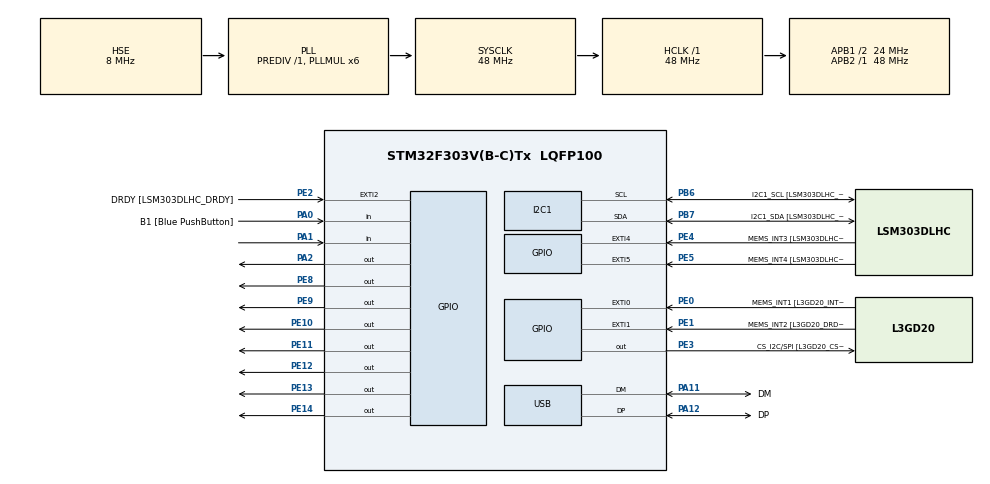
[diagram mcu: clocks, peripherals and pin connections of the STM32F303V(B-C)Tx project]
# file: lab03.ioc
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I2C1.Timing=0x2000090E
I2C1.Timing-I2C=0x2000090E
Mcu.Family=STM32F3
Mcu.Name=STM32F303V(B-C)Tx
Mcu.Package=LQFP100
NVIC.PriorityGroup=NVIC_PRIORITYGROUP_0
PA0.GPIO_Label=B1 [Blue PushButton]
PA0.Signal=GPIO_Input
PA1.GPIO_PuPd=GPIO_PULLDOWN
PA1.Signal=GPIO_Input
PA11.GPIO_Label=DM
PA11.Mode=Device
PA11.Signal=USB_DM
PA12.GPIO_Label=DP
PA12.Mode=Device
PA12.Signal=USB_DP
PA13.GPIO_Label=SWDIO
PA13.Mode=Serial_Wire
PA13.Signal=SYS_JTMS-SWDIO
PA14.GPIO_Label=SWCLK
PA14.Mode=Serial_Wire
PA14.Signal=SYS_JTCK-SWCLK
PA2.Signal=GPIO_Output
PB3.GPIO_Label=SWO
PB3.Signal=SYS_JTDO-TRACESWO
PB6.GPIO_Label=I2C1_SCL [LSM303DLHC_SCL]
PB6.GPIO_Pu=GPIO_PULLUP
PB6.Mode=I2C
PB6.Signal=I2C1_SCL
PB7.GPIO_Label=I2C1_SDA [LSM303DLHC_SDA]
PB7.GPIO_Pu=GPIO_PULLUP
PB7.Mode=I2C
PB7.Signal=I2C1_SDA
PC14-OSC32_IN.GPIO_Label=OSC32_IN
PC14-OSC32_IN.Signal=RCC_OSC32_IN
PC15-OSC32_OUT.GPIO_Label=OSC32_OUT
PC15-OSC32_OUT.Signal=RCC_OSC32_OUT
PE0.GPIO_Label=MEMS_INT1 [L3GD20_INT1]
PE0.GPIO_ModeDefaultEXTI=GPIO_MODE_EVT_RISING
PE0.Signal=GPXTI0
PE1.GPIO_Label=MEMS_INT2 [L3GD20_DRDY/INT2]
PE1.GPIO_ModeDefaultEXTI=GPIO_MODE_EVT_RISING
PE1.Signal=GPXTI1
PE10.Signal=GPIO_Output
PE11.Signal=GPIO_Output
PE12.Signal=GPIO_Output
PE13.Signal=GPIO_Output
PE14.Signal=GPIO_Output
PE2.GPIO_Label=DRDY [LSM303DLHC_DRDY]
PE2.GPIO_ModeDefaultEXTI=GPIO_MODE_EVT_RISING
PE2.Signal=GPXTI2
PE3.GPIO_Label=CS_I2C/SPI [L3GD20_CS_I2C/SPI]
PE3.Signal=GPIO_Output
PE4.GPIO_Label=MEMS_INT3 [LSM303DLHC_INT1]
PE4.GPIO_ModeDefaultEXTI=GPIO_MODE_EVT_RISING
PE4.Signal=GPXTI4
PE5.GPIO_Label=MEMS_INT4 [LSM303DLHC_INT2]
PE5.GPIO_ModeDefaultEXTI=GPIO_MODE_EVT_RISING
PE5.Signal=GPXTI5
PE8.Signal=GPIO_Output
PE9.Signal=GPIO_Output
PF0-OSC_IN.GPIO_Label=OSC_IN
PF0-OSC_IN.Mode=HSE-External-Clock-Source
PF0-OSC_IN.Signal=RCC_OSC_IN
PF1-OSC_OUT.GPIO_Label=OSC_OUT
PF1-OSC_OUT.Signal=RCC_OSC_OUT
ProjectManager.HeapSize=0x200
ProjectManager.StackSize=0x400
ProjectManager.TargetToolchain=CMake
RCC.AHBFreq_Value=48000000
RCC.APB1CLKDivider=RCC_HCLK_DIV2
RCC.APB1Freq_Value=24000000
RCC.APB1TimFreq_Value=48000000
RCC.APB2Freq_Value=48000000
RCC.APB2TimFreq_Value=48000000
RCC.CortexFreq_Value=48000000
RCC.HCLKFreq_Value=48000000
RCC.HSE_VALUE=8000000
RCC.HSI_VALUE=8000000
RCC.LSE_VALUE=32768
RCC.PLLMUL=RCC_PLL_MUL6
RCC.SYSCLKFreq_VALUE=48000000
RCC.SYSCLKSourceVirtual=RCC_SYSCLKSOURCE_PLLCLK
RCC.USBFreq_Value=48000000
board=STM32F3DISCOVERY

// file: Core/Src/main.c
/* USER CODE BEGIN Header */
/**
  ******************************************************************************
  * @file           : main.c
  * @brief          : Main program body
  ******************************************************************************
  * @attention
  *
  * Copyright (c) 2026 STMicroelectronics.
  * All rights reserved.
  *
  * This software is licensed under terms that can be found in the LICENSE file
  * in the root directory of this software component.
  * If no LICENSE file comes with this software, it is provided AS-IS.
  *
  ******************************************************************************
  */
/* USER CODE END Header */
#include "main.h"
#include "stm32f3xx_hal.h"
#include "stdlib.h"

I2C_HandleTypeDef hi2c1;

PCD_HandleTypeDef hpcd_USB_FS;

void SystemClock_Config(void);
static void MX_GPIO_Init(void);
static void MX_I2C1_Init(void);
static void MX_USB_PCD_Init(void);

/* USER CODE BEGIN 0 */
#define SEG_A GPIO_PIN_8
#define SEG_B GPIO_PIN_9
#define SEG_C GPIO_PIN_10
#define SEG_D GPIO_PIN_11
#define SEG_E GPIO_PIN_12
#define SEG_F GPIO_PIN_13
#define SEG_G GPIO_PIN_14

void display_digit(int digit)
{
    uint16_t segments = 0;

    switch (digit)
    {
        case 0: segments = SEG_A | SEG_B | SEG_C | SEG_D | SEG_E | SEG_F; break;
        case 1: segments = SEG_B | SEG_C; break;
        case 2: segments = SEG_A | SEG_B | SEG_D | SEG_E | SEG_G; break;
        case 3: segments = SEG_A | SEG_B | SEG_C | SEG_D | SEG_G; break;
        case 4: segments = SEG_B | SEG_C | SEG_F | SEG_G; break;
        case 5: segments = SEG_A | SEG_C | SEG_D | SEG_F | SEG_G; break;
        case 6: segments = SEG_A | SEG_C | SEG_D | SEG_E | SEG_F | SEG_G; break;
        case 7: segments = SEG_A | SEG_B | SEG_C; break;
        case 8: segments = SEG_A | SEG_B | SEG_C | SEG_D | SEG_E | SEG_F | SEG_G; break;
        case 9: segments = SEG_A | SEG_B | SEG_C | SEG_D | SEG_F | SEG_G; break;
        case 10: segments = SEG_A | SEG_B | SEG_C | SEG_E | SEG_F | SEG_G; break; // A
        case 11: segments = SEG_C | SEG_D | SEG_E | SEG_F | SEG_G; break;           // B
        case 12: segments = SEG_A | SEG_D | SEG_E | SEG_F; break;                   // C
        case 13: segments = SEG_B | SEG_C | SEG_D | SEG_E | SEG_G; break;           // D
        case 14: segments = SEG_A | SEG_D | SEG_E | SEG_F | SEG_G; break;           // E
        case 15: segments = SEG_A | SEG_E | SEG_F | SEG_G; break;                   // F
        default: segments = 0; break; // Turn off all segments for invalid input
    }

    // First, turn off all segments
    HAL_GPIO_WritePin(GPIOE, SEG_A | SEG_B | SEG_C | SEG_D | SEG_E | SEG_F | SEG_G, GPIO_PIN_SET);

    // Then, turn on the required segments
    HAL_GPIO_WritePin(GPIOE, segments, GPIO_PIN_RESET);
}

void Task_1(void)
{
  for (int i = 0; i <= 15; i++)
    {
      display_digit(i);
      HAL_Delay(2000);
    }
}

void Task_2(int *index)
{
    int arr[5] = {1, 0, 3, 5, 7};

    static uint8_t last_button_state = 0;

    uint8_t current_button_state = HAL_GPIO_ReadPin(GPIOA, GPIO_PIN_0);

    if (current_button_state && !last_button_state)
    {
        *index = (*index + 1) % 5;  // Increment index safely
    }

    last_button_state = current_button_state;

    display_digit(arr[*index]);
}

void Task_3(int counter)
{
    uint8_t up_pressed = (HAL_GPIO_ReadPin(GPIOA, GPIO_PIN_0) == GPIO_PIN_SET);
    uint8_t down_pressed = (HAL_GPIO_ReadPin(GPIOB, GPIO_PIN_5) == GPIO_PIN_SET);

    if (up_pressed || down_pressed)
    {
      if (up_pressed)
        {
          counter = (counter == 15) ? 0 : counter + 1;
        }

      if (down_pressed)
        {
          counter = (counter == 0) ? 15 : counter - 1;
        }

    display_digit(counter);

    HAL_Delay(200); // debounce delay

    // Wait until both buttons are released
    while (HAL_GPIO_ReadPin(GPIOA, GPIO_PIN_0) == GPIO_PIN_SET ||
    HAL_GPIO_ReadPin(GPIOB, GPIO_PIN_5) == GPIO_PIN_SET);
    }
}

void Task_4(void){
  if (HAL_GPIO_ReadPin(GPIOA, GPIO_PIN_0) == GPIO_PIN_SET)
    {
      int dice_value = (rand() % 6) + 1; // generate a random number between 1 and 6
      display_digit(dice_value);

      HAL_Delay(200); // debounce delay

      // wait until the button is released
      while (HAL_GPIO_ReadPin(GPIOA, GPIO_PIN_0) == GPIO_PIN_SET);
    }
}

/* USER CODE END 0 */

int main(void)
{

  /* MCU Configuration--------------------------------------------------------*/

  /* Reset of all peripherals, Initializes the Flash interface and the Systick. */

  HAL_Init();

  /* Configure the system clock */
  SystemClock_Config();

  /* Initialize all configured peripherals */
  MX_GPIO_Init();
  MX_I2C1_Init();
  MX_USB_PCD_Init();
  /* USER CODE BEGIN 2 */
  // int counter =5;          For Task 3

  /* USER CODE END 2 */

  /* Infinite loop */
  while (1)
  {
      // Task_1();
      // Task_2(&index);
      // Task_3(counter);
      Task_4();
  }
}

void SystemClock_Config(void)
{
  RCC_OscInitTypeDef RCC_OscInitStruct = {0};
  RCC_ClkInitTypeDef RCC_ClkInitStruct = {0};
  RCC_PeriphCLKInitTypeDef PeriphClkInit = {0};

  /** Initializes the RCC Oscillators according to the specified parameters
  * in the RCC_OscInitTypeDef structure.
  */
  RCC_OscInitStruct.OscillatorType = RCC_OSCILLATORTYPE_HSI|RCC_OSCILLATORTYPE_HSE;
  RCC_OscInitStruct.HSEState = RCC_HSE_BYPASS;
  RCC_OscInitStruct.HSEPredivValue = RCC_HSE_PREDIV_DIV1;
  RCC_OscInitStruct.HSIState = RCC_HSI_ON;
  RCC_OscInitStruct.HSICalibrationValue = RCC_HSICALIBRATION_DEFAULT;
  RCC_OscInitStruct.PLL.PLLState = RCC_PLL_ON;
  RCC_OscInitStruct.PLL.PLLSource = RCC_PLLSOURCE_HSE;
  RCC_OscInitStruct.PLL.PLLMUL = RCC_PLL_MUL6;
  if (HAL_RCC_OscConfig(&RCC_OscInitStruct) != HAL_OK)
  {
    Error_Handler();
  }

  /** Initializes the CPU, AHB and APB buses clocks
  */
  RCC_ClkInitStruct.ClockType = RCC_CLOCKTYPE_HCLK|RCC_CLOCKTYPE_SYSCLK
                              |RCC_CLOCKTYPE_PCLK1|RCC_CLOCKTYPE_PCLK2;
  RCC_ClkInitStruct.SYSCLKSource = RCC_SYSCLKSOURCE_PLLCLK;
  RCC_ClkInitStruct.AHBCLKDivider = RCC_SYSCLK_DIV1;
  RCC_ClkInitStruct.APB1CLKDivider = RCC_HCLK_DIV2;
  RCC_ClkInitStruct.APB2CLKDivider = RCC_HCLK_DIV1;

  if (HAL_RCC_ClockConfig(&RCC_ClkInitStruct, FLASH_LATENCY_1) != HAL_OK)
  {
    Error_Handler();
  }
  PeriphClkInit.PeriphClockSelection = RCC_PERIPHCLK_USB|RCC_PERIPHCLK_I2C1;
  PeriphClkInit.I2c1ClockSelection = RCC_I2C1CLKSOURCE_HSI;
  PeriphClkInit.USBClockSelection = RCC_USBCLKSOURCE_PLL;
  if (HAL_RCCEx_PeriphCLKConfig(&PeriphClkInit) != HAL_OK)
  {
    Error_Handler();
  }
}

static void MX_I2C1_Init(void)
{

  hi2c1.Instance = I2C1;
  hi2c1.Init.Timing = 0x2000090E;
  hi2c1.Init.OwnAddress1 = 0;
  hi2c1.Init.AddressingMode = I2C_ADDRESSINGMODE_7BIT;
  hi2c1.Init.DualAddressMode = I2C_DUALADDRESS_DISABLE;
  hi2c1.Init.OwnAddress2 = 0;
  hi2c1.Init.OwnAddress2Masks = I2C_OA2_NOMASK;
  hi2c1.Init.GeneralCallMode = I2C_GENERALCALL_DISABLE;
  hi2c1.Init.NoStretchMode = I2C_NOSTRETCH_DISABLE;
  if (HAL_I2C_Init(&hi2c1) != HAL_OK)
  {
    Error_Handler();
  }

  /** Configure Analogue filter
  */
  if (HAL_I2CEx_ConfigAnalogFilter(&hi2c1, I2C_ANALOGFILTER_ENABLE) != HAL_OK)
  {
    Error_Handler();
  }

  /** Configure Digital filter
  */
  if (HAL_I2CEx_ConfigDigitalFilter(&hi2c1, 0) != HAL_OK)
  {
    Error_Handler();
  }

}

static void MX_USB_PCD_Init(void)
{

  hpcd_USB_FS.Instance = USB;
  hpcd_USB_FS.Init.dev_endpoints = 8;
  hpcd_USB_FS.Init.speed = PCD_SPEED_FULL;
  hpcd_USB_FS.Init.phy_itface = PCD_PHY_EMBEDDED;
  hpcd_USB_FS.Init.low_power_enable = DISABLE;
  hpcd_USB_FS.Init.battery_charging_enable = DISABLE;
  if (HAL_PCD_Init(&hpcd_USB_FS) != HAL_OK)
  {
    Error_Handler();
  }

}

static void MX_GPIO_Init(void)
{
  GPIO_InitTypeDef GPIO_InitStruct = {0};

  /* GPIO Ports Clock Enable */
  __HAL_RCC_GPIOE_CLK_ENABLE();
  __HAL_RCC_GPIOC_CLK_ENABLE();
  __HAL_RCC_GPIOF_CLK_ENABLE();
  __HAL_RCC_GPIOA_CLK_ENABLE();
  __HAL_RCC_GPIOB_CLK_ENABLE();

  /*Configure GPIO pin Output Level */
  HAL_GPIO_WritePin(GPIOE, CS_I2C_SPI_Pin|GPIO_PIN_8|GPIO_PIN_9|GPIO_PIN_10
                          |GPIO_PIN_11|GPIO_PIN_12|GPIO_PIN_13|GPIO_PIN_14, GPIO_PIN_RESET);

  /*Configure GPIO pin Output Level */
  HAL_GPIO_WritePin(GPIOA, GPIO_PIN_2, GPIO_PIN_RESET);

  /*Configure GPIO pins : DRDY_Pin MEMS_INT3_Pin MEMS_INT4_Pin MEMS_INT1_Pin
                           MEMS_INT2_Pin */
  GPIO_InitStruct.Pin = DRDY_Pin|MEMS_INT3_Pin|MEMS_INT4_Pin|MEMS_INT1_Pin
                          |MEMS_INT2_Pin;
  GPIO_InitStruct.Mode = GPIO_MODE_EVT_RISING;
  GPIO_InitStruct.Pull = GPIO_NOPULL;
  HAL_GPIO_Init(GPIOE, &GPIO_InitStruct);

  /*Configure GPIO pins : CS_I2C_SPI_Pin PE8 PE9 PE10
                           PE11 PE12 PE13 PE14 */
  GPIO_InitStruct.Pin = CS_I2C_SPI_Pin|GPIO_PIN_8|GPIO_PIN_9|GPIO_PIN_10
                          |GPIO_PIN_11|GPIO_PIN_12|GPIO_PIN_13|GPIO_PIN_14;
  GPIO_InitStruct.Mode = GPIO_MODE_OUTPUT_PP;
  GPIO_InitStruct.Pull = GPIO_NOPULL;
  GPIO_InitStruct.Speed = GPIO_SPEED_FREQ_LOW;
  HAL_GPIO_Init(GPIOE, &GPIO_InitStruct);

  /*Configure GPIO pin : B1_Pin */
  GPIO_InitStruct.Pin = B1_Pin;
  GPIO_InitStruct.Mode = GPIO_MODE_INPUT;
  GPIO_InitStruct.Pull = GPIO_NOPULL;
  HAL_GPIO_Init(B1_GPIO_Port, &GPIO_InitStruct);

  /*Configure GPIO pin : PA1 */
  GPIO_InitStruct.Pin = GPIO_PIN_1;
  GPIO_InitStruct.Mode = GPIO_MODE_INPUT;
  GPIO_InitStruct.Pull = GPIO_PULLDOWN;
  HAL_GPIO_Init(GPIOA, &GPIO_InitStruct);

  /*Configure GPIO pin : PA2 */
  GPIO_InitStruct.Pin = GPIO_PIN_2;
  GPIO_InitStruct.Mode = GPIO_MODE_OUTPUT_PP;
  GPIO_InitStruct.Pull = GPIO_NOPULL;
  GPIO_InitStruct.Speed = GPIO_SPEED_FREQ_LOW;
  HAL_GPIO_Init(GPIOA, &GPIO_InitStruct);

}

void Error_Handler(void)
{
  __disable_irq();
  while (1)
  {
  }
}
